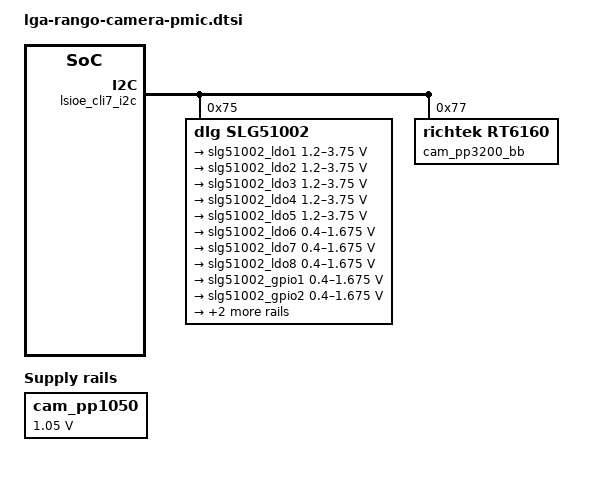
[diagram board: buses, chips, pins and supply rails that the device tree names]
// SPDX-License-Identifier: GPL-2.0-only
/*
 * camera PMIC device tree for rango
 *
 * Copyright 2024 Google LLC.
 *
 */

/ {
	fragment@camera_supply {
		target-path = "/";
		__overlay__ {
			cam_pp1050: cam_supply@0 {
				compatible = "regulator-fixed";
				status = "okay";
				regulator-name = "PP1050_CAM";
				regulator-min-microvolt = <1050000>;
				regulator-max-microvolt = <1050000>;
				/* 2ms */
				regulator-enable-ramp-delay = <2000>;
				enable-active-high;
				/* PMICM2RCAM_VDIG_EN */
				gpio = <PMICM2RCAM_VDIG_EN(GPIO_ACTIVE_HIGH)>;
			};
		};
	};
};

&lsioe_cli7_i2c {
	slg51002: slg51002@75 {
		compatible = "dlg,slg51002";
		reg = <0x75>;
		status = "ok";
		dlg,cs-gpios = <PMICS2CAM_PMIC_EN(GPIO_ACTIVE_HIGH)>;
		dlg,reg-init-cells = <2>;
		dlg,reg-init = <0x111A 0x45>, <0x111B 0x53>, <0x111C 0x54>,
						<0x111D 0x4D>, <0x3164 0x81>,
						<0x3264 0x81>, <0x1119 0x00>,
						<0x3163 0x03>, <0x3263 0x03>;

		regulators {
			slg51002_ldo1: ldo1 {
				regulator-name = "ldo1";
				regulator-min-microvolt = <1200000>;
				regulator-max-microvolt = <3750000>;
				vin1_2-supply = <&cam_pp3200_bb>;
			};

			slg51002_ldo2: ldo2 {
				regulator-name = "ldo2";
				regulator-min-microvolt = <1200000>;
				regulator-max-microvolt = <3750000>;
				vin1_2-supply = <&cam_pp3200_bb>;
			};

			slg51002_ldo3: ldo3 {
				regulator-name = "ldo3";
				regulator-min-microvolt = <1200000>;
				regulator-max-microvolt = <3750000>;
				vin3-supply = <&cam_pp3200_bb>;
			};

			slg51002_ldo4: ldo4 {
				regulator-name = "ldo4";
				regulator-min-microvolt = <1200000>;
				regulator-max-microvolt = <3750000>;
				vin4-supply = <&cam_pp3200_bb>;
			};

			slg51002_ldo5: ldo5 {
				regulator-name = "ldo5";
				regulator-min-microvolt = <1200000>;
				regulator-max-microvolt = <3750000>;
				vin5-supply = <&cam_pp3200_bb>;
			};

			slg51002_ldo6: ldo6 {
				regulator-name = "ldo6";
				regulator-min-microvolt = <400000>;
				regulator-max-microvolt = <1675000>;
				vin6-supply = <&cam_pp1050>;
			};

			slg51002_ldo7: ldo7 {
				regulator-name = "ldo7";
				regulator-min-microvolt = <400000>;
				regulator-max-microvolt = <1675000>;
				vin7-supply = <&cam_pp1050>;
			};

			slg51002_ldo8: ldo8 {
				regulator-name = "ldo8";
				regulator-min-microvolt = <400000>;
				regulator-max-microvolt = <1675000>;
				vin8-supply = <&cam_pp1050>;
			};

			slg51002_gpio1: gpio1 {
				regulator-name = "gpio1";
				regulator-min-microvolt = <400000>;
				regulator-max-microvolt = <1675000>;
			};

			slg51002_gpio2: gpio2 {
				regulator-name = "gpio2";
				regulator-min-microvolt = <400000>;
				regulator-max-microvolt = <1675000>;
			};

			slg51002_gpio3: gpio3 {
				regulator-name = "gpio3";
				regulator-min-microvolt = <400000>;
				regulator-max-microvolt = <1675000>;
			};

			slg51002_gpio4: gpio4 {
				regulator-name = "gpio4";
				regulator-min-microvolt = <400000>;
				regulator-max-microvolt = <1675000>;
			};
		};

		slg51002_gpio: slg51002_gpio {
			gpio-controller;
			#gpio-cells = <2>;
			ngpios = <8>;
			gpio-ranges = <&slg51002_pinctrl 0 0 8>;
		};

		slg51002_pinctrl: slg51002_pinctrl {
		};
	};

	/* RT6160 */
	cam_pp3200_bb: cam_supply@77 {
		compatible = "richtek,rt6160";
		reg = <0x77>;
		/* CAM_BB_EN */
		enable-gpios = <PMICS2CAM_BB_EN(GPIO_ACTIVE_HIGH)>;
		status = "ok";
		regulator-name = "PP3200_CAM_BB";
		regulator-min-microvolt = <3200000>;
		regulator-max-microvolt = <3200000>;
		/* 2ms */
		regulator-enable-ramp-delay = <2000>;
	};
};
